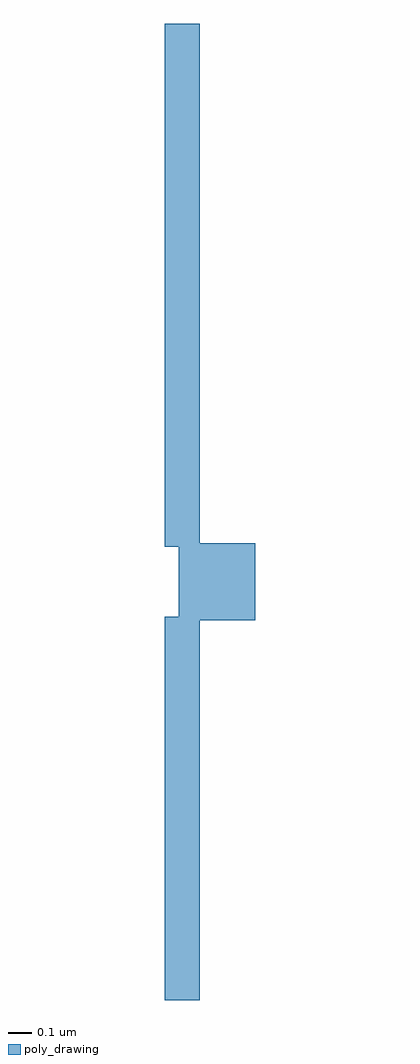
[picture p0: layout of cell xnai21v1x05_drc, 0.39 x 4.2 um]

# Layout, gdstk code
import gdstk
lib = gdstk.Library(unit=1e-6, precision=5e-09)
def R(c, l, rs):  # rectangles x0, y0, x1, y1
    for r in rs: c.add(gdstk.rectangle(r[:2], r[2:], *l))
poly_drawing = (66, 20)

xnai21v1x05_drc = lib.new_cell('xnai21v1x05_drc')
R(xnai21v1x05_drc, poly_drawing, [(1.95,0.6,2.1,2.25), (1.95,0.6,2.1,2.25), (2.01,2.235,2.34,2.565), (2.01,2.235,2.34,2.565), (2.01,2.235,2.34,2.565), (2.01,2.235,2.34,2.565), (1.95,2.55,2.1,4.8), (1.95,2.55,2.1,4.8)])

lib.write_gds('xnai21v1x05_drc.gds')
